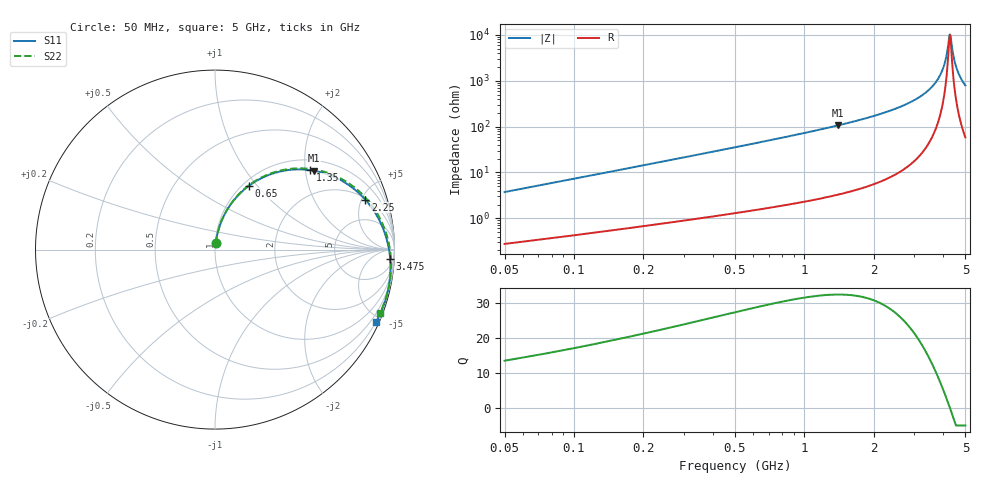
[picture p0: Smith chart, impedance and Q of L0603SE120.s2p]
!	AVX	Thin	Film	Operation	Date:	2004
!	Description:	"Series,"	Thin	"Film,"	"LGA,"	RF	Inductors
!	Part	Number:	L060312nH
!	50	MHz	-	5	GHz
!	Serial	Measurements
#	mhz	S	db	R	50
!	S11	S11	S21	S21	S12	S12	S22	S22
!	dB	Phase	dB	Phase	dB	Phase	dB	Phase
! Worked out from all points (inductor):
!   199 points, 50 MHz to 5 GHz, reference 50 ohm
!   read as one part in series: L = 11.7 nH near 50 MHz
!   highest Q = 32.4 at 1.4 GHz (marker M1), where L = 12.1 nH
!   self-resonance near 4.275 GHz
!   S11 on the Smith chart (normalised r, x): 50 MHz: 1.01, +0.07; 650 MHz: 1.07, +0.90; 1.35 GHz: 1.25, +2.12; 2.25 GHz: 2.13, +5.35; 3.475 GHz: 13, -31; 5 GHz: 0.18, -4.68
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50  -28.89 83.4  -0.03 -2.2  -0.03 -2.2  -28.89 83.4
125  -21.26 81.4  -0.08 -5.3  -0.08 -5.3  -21.26 81.5
225  -16.38 77.8  -0.16 -9.4  -0.16 -9.4  -16.38 77.9
400  -11.69 71.2  -0.40 -16.3  -0.40 -16.3  -11.69 71.5
650  -7.94 62.1  -0.90 -25.7  -0.90 -25.7  -7.94 62.5
875  -5.84 54.4  -1.49 -33.4  -1.49 -33.4  -5.84 54.9
1350  -3.22 39.9  -3.08 -47.9  -3.08 -47.9  -3.22 40.7
1400  -3.03 38.5  -3.27 -49.2  -3.27 -49.2  -3.03 39.4
1700  -2.11 30.7  -4.49 -56.9  -4.49 -56.9  -2.12 31.8
2250  -1.09 18.4  -7.12 -68.9  -7.12 -68.9  -1.09 19.8
2525  -0.77 13.0  -8.65 -74.0  -8.65 -74.0  -0.77 14.5
3350  -0.24 -1.1  -14.89 -86.6  -14.89 -86.6  -0.24 0.9
3475  -0.20 -3.1  -16.23 -88.0  -16.23 -88.0  -0.20 -0.9
3925  -0.11 -9.7  -23.55 -89.9  -23.55 -89.9  -0.11 -7.3
4075  -0.09 -11.8  -28.17 -86.2  -28.17 -86.2  -0.09 -9.3
4175  -0.08 -13.2  -33.21 -76.1  -33.21 -76.1  -0.08 -10.6
4275  -0.08 -14.6  -40.40 -24.1  -40.40 -24.1  -0.08 -11.9
4300  -0.08 -14.9  -40.26 2.2  -40.26 2.2  -0.08 -12.3
4425  -0.08 -16.6  -31.65 54.2  -31.65 54.2  -0.08 -13.9
4550  -0.09 -18.3  -26.59 62.0  -26.59 62.0  -0.09 -15.4
4750  -0.11 -20.9  -21.95 64.2  -21.95 64.2  -0.11 -17.9
5000  -0.14 -24.1  -18.40 63.3  -18.40 63.3  -0.14 -20.9
